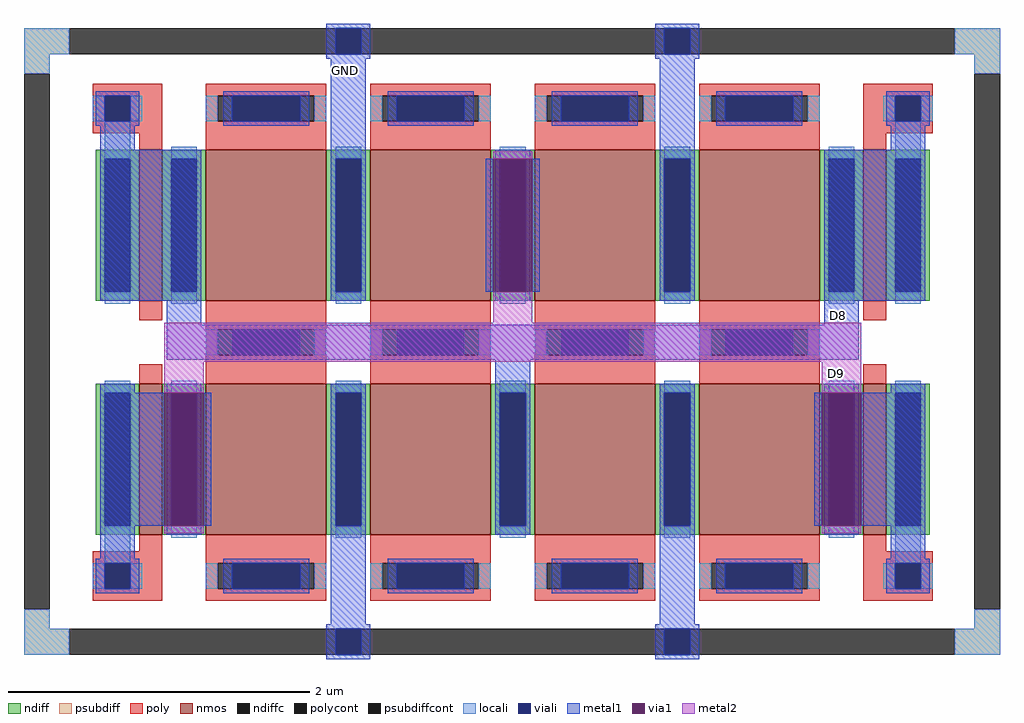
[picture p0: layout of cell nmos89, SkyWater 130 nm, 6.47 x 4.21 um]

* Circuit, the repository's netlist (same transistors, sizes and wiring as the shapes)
* NGSPICE file created from nmos89.ext - technology: sky130A

.subckt sky130_fd_pr__nfet_01v8_HZDFY5 a_n73_n100# a_15_n100# a_n15_n126# VSUBS
X0 a_15_n100# a_n15_n126# a_n73_n100# VSUBS sky130_fd_pr__nfet_01v8 ad=0.29 pd=2.58 as=0.29 ps=2.58 w=1 l=0.15
.ends

.subckt sky130_fd_pr__nfet_01v8_DXNGNZ a_n407_n188# a_n29_n100# a_n247_n100# a_n465_n100#
+ a_189_n100# a_407_n100# a_n189_n188# a_29_n188# a_247_n188# VSUBS
X0 a_n247_n100# a_n407_n188# a_n465_n100# VSUBS sky130_fd_pr__nfet_01v8 ad=0.145 pd=1.29 as=0.29 ps=2.58 w=1 l=0.8
X1 a_n29_n100# a_n189_n188# a_n247_n100# VSUBS sky130_fd_pr__nfet_01v8 ad=0.145 pd=1.29 as=0.145 ps=1.29 w=1 l=0.8
X2 a_189_n100# a_29_n188# a_n29_n100# VSUBS sky130_fd_pr__nfet_01v8 ad=0.145 pd=1.29 as=0.145 ps=1.29 w=1 l=0.8
X3 a_407_n100# a_247_n188# a_189_n100# VSUBS sky130_fd_pr__nfet_01v8 ad=0.29 pd=2.58 as=0.145 ps=1.29 w=1 l=0.8
.ends

.subckt nmos89 D9 D8 GND
Xsky130_fd_pr__nfet_01v8_HZDFY5_0 D9 D9 D9 GND sky130_fd_pr__nfet_01v8_HZDFY5
Xsky130_fd_pr__nfet_01v8_HZDFY5_1 D9 D9 D9 GND sky130_fd_pr__nfet_01v8_HZDFY5
Xsky130_fd_pr__nfet_01v8_HZDFY5_2 D8 D8 D8 GND sky130_fd_pr__nfet_01v8_HZDFY5
Xsky130_fd_pr__nfet_01v8_DXNGNZ_0 D8 D9 GND D8 GND D8 D8 D8 D8 GND sky130_fd_pr__nfet_01v8_DXNGNZ
Xsky130_fd_pr__nfet_01v8_HZDFY5_3 D8 D8 D8 GND sky130_fd_pr__nfet_01v8_HZDFY5
Xsky130_fd_pr__nfet_01v8_DXNGNZ_1 D8 D8 GND D9 GND D9 D8 D8 D8 GND sky130_fd_pr__nfet_01v8_DXNGNZ
.ends

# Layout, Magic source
magic
tech sky130A
magscale 1 2
<< psubdiff >>
rect -93 369 -33 403
rect 1141 369 1201 403
rect -93 343 -59 369
rect 1167 343 1201 369
rect -93 -393 -59 -367
rect 1167 -393 1201 -367
rect -93 -427 -33 -393
rect 1141 -427 1201 -393
<< psubdiffcont >>
rect -33 369 1141 403
rect -93 -367 -59 343
rect 1167 -367 1201 343
rect -33 -427 1141 -393
<< poly >>
rect -2 314 90 330
rect -2 280 14 314
rect 48 280 90 314
rect -2 268 90 280
rect 1020 314 1112 330
rect 1020 280 1062 314
rect 1096 280 1112 314
rect 1020 268 1112 280
rect -2 264 64 268
rect 1046 264 1112 268
rect -2 -294 64 -290
rect 1046 -294 1112 -290
rect -2 -306 90 -294
rect -2 -340 14 -306
rect 48 -340 90 -306
rect -2 -356 90 -340
rect 1020 -306 1112 -294
rect 1020 -340 1062 -306
rect 1096 -340 1112 -306
rect 1020 -356 1112 -340
<< polycont >>
rect 14 280 48 314
rect 1062 280 1096 314
rect 14 -340 48 -306
rect 1062 -340 1096 -306
<< locali >>
rect -93 369 -33 403
rect 1141 369 1201 403
rect -93 343 -59 369
rect 1167 343 1201 369
rect -2 280 14 314
rect 48 280 64 314
rect 1046 280 1062 314
rect 1096 280 1112 314
rect 14 242 48 280
rect 1062 242 1096 280
rect 14 -306 48 -268
rect 1062 -306 1096 -268
rect -2 -340 14 -306
rect 48 -340 64 -306
rect 1046 -340 1062 -306
rect 1096 -340 1112 -306
rect -93 -393 -59 -367
rect 1167 -393 1201 -367
rect -93 -427 -33 -393
rect 1141 -427 1201 -393
<< viali >>
rect 320 369 354 403
rect 756 369 790 403
rect 14 280 48 314
rect 1062 280 1096 314
rect 14 -340 48 -306
rect 1062 -340 1096 -306
rect 320 -427 354 -393
rect 756 -427 790 -393
<< metal1 >>
rect 308 403 366 409
rect 308 369 320 403
rect 354 369 366 403
rect 308 363 366 369
rect 744 403 802 409
rect 744 369 756 403
rect 790 369 802 403
rect 744 363 802 369
rect 2 314 60 320
rect 2 280 14 314
rect 48 280 60 314
rect 2 274 60 280
rect 8 242 54 274
rect 8 42 142 242
rect 314 230 360 363
rect 750 230 796 363
rect 1050 314 1108 320
rect 1050 280 1062 314
rect 1096 280 1108 314
rect 1050 274 1108 280
rect 1056 242 1102 274
rect 519 54 529 230
rect 581 54 591 230
rect 96 10 142 42
rect 968 42 1102 242
rect 968 10 1014 42
rect 96 -36 1014 10
rect 532 -80 578 -36
rect 14 -256 93 -80
rect 145 -256 155 -80
rect 955 -256 965 -80
rect 1017 -256 1096 -80
rect 8 -300 54 -264
rect 2 -306 60 -300
rect 2 -340 14 -306
rect 48 -340 60 -306
rect 2 -346 60 -340
rect 314 -387 360 -256
rect 750 -387 796 -256
rect 1056 -300 1102 -265
rect 1050 -306 1108 -300
rect 1050 -340 1062 -306
rect 1096 -340 1108 -306
rect 1050 -346 1108 -340
rect 308 -393 366 -387
rect 308 -427 320 -393
rect 354 -427 366 -393
rect 308 -433 366 -427
rect 744 -393 802 -387
rect 744 -427 756 -393
rect 790 -427 802 -393
rect 744 -433 802 -427
<< via1 >>
rect 529 54 581 230
rect 93 -256 145 -80
rect 965 -256 1017 -80
<< metal2 >>
rect 529 230 581 240
rect 529 13 581 54
rect 93 -39 1017 13
rect 93 -80 145 -39
rect 93 -266 145 -256
rect 965 -80 1017 -39
rect 965 -266 1017 -256
use sky130_fd_pr__nfet_01v8_DXNGNZ  sky130_fd_pr__nfet_01v8_DXNGNZ_0
transform 1 0 555 0 1 142
box -465 -188 465 188
use sky130_fd_pr__nfet_01v8_DXNGNZ  sky130_fd_pr__nfet_01v8_DXNGNZ_1
transform 1 0 555 0 1 -168
box -465 -188 465 188
use sky130_fd_pr__nfet_01v8_HZDFY5  sky130_fd_pr__nfet_01v8_HZDFY5_0
transform 1 0 75 0 1 -168
box -73 -126 73 126
use sky130_fd_pr__nfet_01v8_HZDFY5  sky130_fd_pr__nfet_01v8_HZDFY5_1
transform 1 0 1035 0 1 -168
box -73 -126 73 126
use sky130_fd_pr__nfet_01v8_HZDFY5  sky130_fd_pr__nfet_01v8_HZDFY5_2
transform 1 0 1035 0 1 142
box -73 -126 73 126
use sky130_fd_pr__nfet_01v8_HZDFY5  sky130_fd_pr__nfet_01v8_HZDFY5_3
transform 1 0 75 0 1 142
box -73 -126 73 126
<< labels >>
flabel metal2 984 -54 984 -54 0 FreeSans 1600 0 0 0 D9
port 0 nsew
flabel metal1 987 23 987 23 0 FreeSans 1600 0 0 0 D8
port 1 nsew
flabel metal1 333 347 333 347 0 FreeSans 1600 0 0 0 GND
port 2 nsew
<< end >>

# cell sky130_fd_pr__nfet_01v8_DXNGNZ: kit device sky130_fd_pr__nfet_01v8, w 1 l 0.8 m 1 nf 4 diffcov 100 polycov 100 guard 0 glc 1 grc 1 gtc 1 gbc 1 tbcov 100 rlcov 100 topc 1 botc 1 poverlap 0 doverlap 1 lmin 0.15 wmin 0.42 compatible {sky130_fd_pr__nfet_01v8 sky130_fd_pr__nfet_01v8_lvt sky130_fd_bs_flash__special_sonosfet_star sky130_fd_pr__nfet_g5v0d10v5 sky130_fd_pr__nfet_05v0_nvt sky130_fd_pr__nfet_03v3_nvt} full_metal 1 viasrc 100 viadrn 100 viagate 70 viagb 0 viagr 0 viagl 0 viagt 0

# cell sky130_fd_pr__nfet_01v8_HZDFY5: kit device sky130_fd_pr__nfet_01v8, w 1 l 0.150 m 1 nf 1 diffcov 100 polycov 100 guard 0 glc 1 grc 1 gtc 1 gbc 1 tbcov 100 rlcov 100 topc 0 botc 0 poverlap 0 doverlap 0 lmin 0.15 wmin 0.42 compatible {sky130_fd_pr__nfet_01v8 sky130_fd_pr__nfet_01v8_lvt sky130_fd_bs_flash__special_sonosfet_star sky130_fd_pr__nfet_g5v0d10v5 sky130_fd_pr__nfet_05v0_nvt sky130_fd_pr__nfet_03v3_nvt} full_metal 1 viasrc 100 viadrn 100 viagate 100 viagb 0 viagr 0 viagl 0 viagt 0
